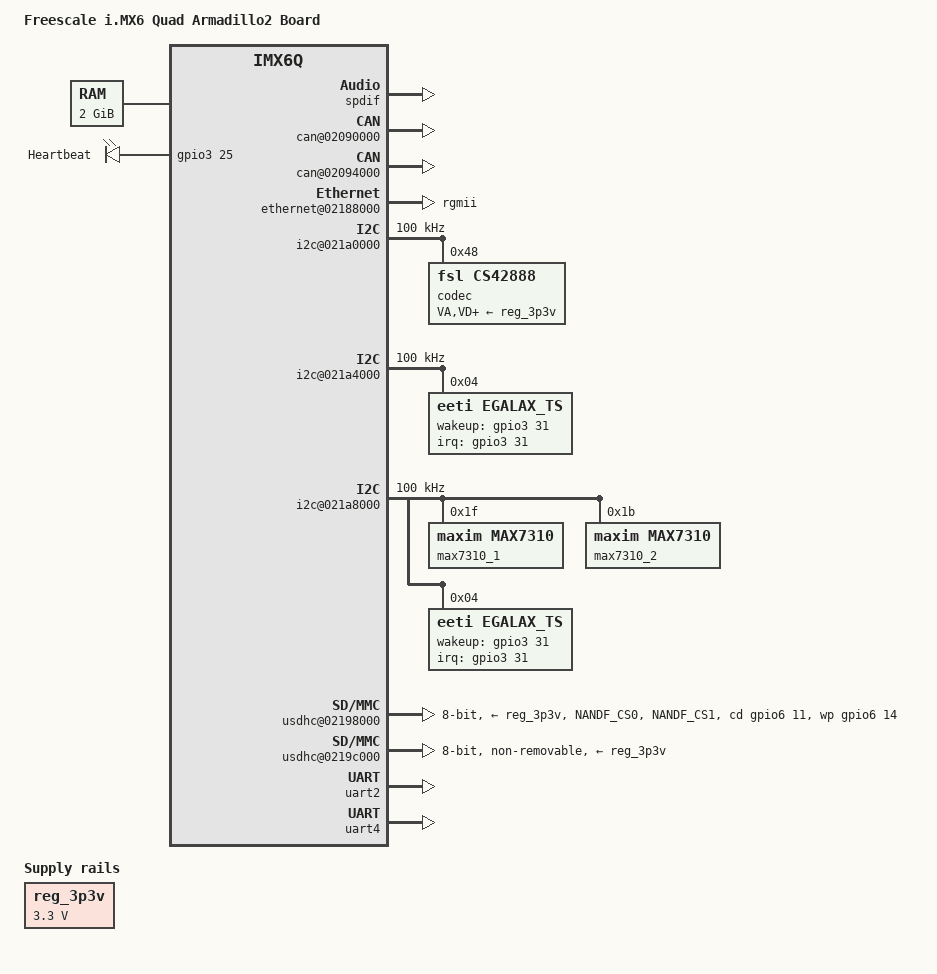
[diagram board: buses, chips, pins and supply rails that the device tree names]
/*
 * Copyright 2011 Freescale Semiconductor, Inc.
 * Copyright 2011 Linaro Ltd.
 *
 * The code contained herein is licensed under the GNU General Public
 * License. You may obtain a copy of the GNU General Public License
 * Version 2 or later at the following locations:
 *
 * http://www.opensource.org/licenses/gpl-license.html
 * http://www.gnu.org/copyleft/gpl.html
 */

/dts-v1/;
#include "imx6q.dtsi"

/ {
	model = "Freescale i.MX6 Quad Armadillo2 Board";
	compatible = "fsl,imx6q-arm2", "fsl,imx6q";

	memory {
		reg = <0x10000000 0x80000000>;
	};

	soc {
		gpmi-nand@00112000 {
			pinctrl-names = "default";
			pinctrl-0 = <&pinctrl_gpmi_nand_1>;
			status = "disabled"; /* gpmi nand conflicts with SD */
		};

		aips-bus@02000000 { /* AIPS1 */
			spba-bus@02000000 {
				spdif: spdif@02004000 {
					compatible = "fsl,fsl-spdif";
					reg = <0x02004000 0x4000>;
					pinctrl-names = "default";
					pinctrl-0 = <&pinctrl_spdif_2>;
					fsl,spdif-dma-events = <15 14>;
					clocks = <&clks 198>;
					clock-names = "spdif";
					interrupts = <0 52 0x04>;
					status = "okay";
				};
				esai: esai@02024000 {
					pinctrl-names = "default";
					pinctrl-0 = <&pinctrl_esai_1>;
					status = "okay";
				};
				asrc_p2p: asrc-p2p {
					compatible = "fsl,imx6q-asrc-p2p";
					output-rate = <44100>;
				};
			};

			can@02090000 { /* CAN1 */
				pinctrl-names = "default";
				pinctrl-0 = <&pinctrl_flexcan1_2>;
				trx-en-gpio = <&gpio7 13 0>;
				trx-stby-gpio = <&gpio7 12 0>;
				status = "okay";
			};

			can@02094000 { /* CAN2 */
				pinctrl-names = "default";
				pinctrl-0 = <&pinctrl_flexcan2_1>;
				trx-en-gpio = <&gpio5 24 0>;
				trx-stby-gpio = <&max7310_2 1 0>;
				status = "okay";
			};

			iomuxc@020e0000 {
				pinctrl-names = "default";
				pinctrl-0 = <&pinctrl_hog>;

				hog {
					pinctrl_hog: hoggrp {
						fsl,pins = <
							MX6Q_PAD_EIM_D25__GPIO3_IO25 0x80000000
							MX6Q_PAD_EIM_D31__GPIO3_IO31 0x80000000
							/*  CAN1 STBY */
							MX6Q_PAD_GPIO_17__GPIO7_IO12 0x80000000
							/*  CAN1 EN */
							MX6Q_PAD_GPIO_18__GPIO7_IO13 0x80000000
							/* CAN2 EN */
							MX6Q_PAD_CSI0_DAT6__GPIO5_IO24 0x80000000

						>;
					};
				};

				arm2 {
					pinctrl_usdhc3_arm2: usdhc3grp-arm2 {
						fsl,pins = <
							MX6Q_PAD_NANDF_CS0__GPIO6_IO11 0x80000000
							MX6Q_PAD_NANDF_CS1__GPIO6_IO14 0x80000000
						>;
					};
				};
			};
		};

		aips-bus@02100000 { /* AIPS2 */
			ethernet@02188000 {
				pinctrl-names = "default";
				pinctrl-0 = <&pinctrl_enet_2>;
				phy-mode = "rgmii";
				status = "okay";
			};

			i2c@021a0000 { /* I2C1 */
				clock-frequency = <100000>;
				pinctrl-names = "default";
				pinctrl-0 = <&pinctrl_i2c1_2>;
				status = "okay";
				codec: cs42888@048 {
					compatible = "fsl,cs42888";
					reg = <0x048>;
					mclk-source = <2>;
					sysclk = <16934400>;
					rates = <0xa40>;
					VA-supply = <&reg_3p3v>;
					VD-supply = <&reg_3p3v>;
					VLS-supply = <&reg_3p3v>;
					VLC-supply = <&reg_3p3v>;
				};
			};

			i2c@021a4000 { /* I2C2 */
				clock-frequency = <100000>;
				pinctrl-names = "default";
				pinctrl-0 = <&pinctrl_i2c2_2>;
				status = "okay";

				egalax_ts@04 {
					compatible = "eeti,egalax_ts";
					reg = <0x04>;
					interrupt-parent = <&gpio3>;
					interrupts = <31 2>;
					wakeup-gpios = <&gpio3 31 0>;
				};
			};

			i2c@021a8000 { /* I2C3 */
				clock-frequency = <100000>;
				pinctrl-names = "default";
				pinctrl-0 = <&pinctrl_i2c3_3>;
				status = "okay";

				max7310_1: gpio@1f{
					compatible = "maxim,max7310";
					reg = <0x1f>;
					gpio-controller;
					#gpio-cells = <2>;
				};

				max7310_2: gpio@1b{
					compatible = "maxim,max7310";
					reg = <0x1b>;
					gpio-controller;
					#gpio-cells = <2>;
				};

				egalax_ts@04 {
					compatible = "eeti,egalax_ts";
					reg = <0x4>;
					interrupt-parent = <&gpio3>;
					interrupts = <31 2>;
					wakeup-gpios = <&gpio3 31 0>;
				};
			};

			usdhc@02198000 { /* uSDHC3 */
				cd-gpios = <&gpio6 11 0>;
				wp-gpios = <&gpio6 14 0>;
				vmmc-supply = <&reg_3p3v>;
				pinctrl-names = "default", "state_100mhz", "state_200mhz";
				pinctrl-0 = <&pinctrl_usdhc3_1
					     &pinctrl_usdhc3_arm2>;
				pinctrl-1 = <&pinctrl_usdhc3_3
					     &pinctrl_usdhc3_arm2>;
				pinctrl-2 = <&pinctrl_usdhc3_4
					     &pinctrl_usdhc3_arm2>;
				bus-width = <8>;
				keep-power-in-suspend;
				enable-sdio-wakeup;
				status = "okay";
			};

			usdhc@0219c000 { /* uSDHC4 */
				non-removable;
				vmmc-supply = <&reg_3p3v>;
				pinctrl-names = "default";
				pinctrl-0 = <&pinctrl_usdhc4_1>;
				no-1-8-v;
				bus-width = <8>;
				keep-power-in-suspend;
				enable-sdio-wakeup;
				status = "okay";
			};

			uart2: serial@021e8000 {
				pinctrl-names = "default";
				pinctrl-0 = <&pinctrl_uart2_dte>;
				fsl,dte-mode;
				fsl,uart-has-rtscts;
				fsl,uart-dma-events = <27 28>;
				status = "okay";
			};

			uart4: serial@021f0000 {
				pinctrl-names = "default";
				pinctrl-0 = <&pinctrl_uart4_1>;
				status = "okay";
			};
		};
	};

	regulators {
		compatible = "simple-bus";

		reg_3p3v: 3p3v {
			compatible = "regulator-fixed";
			regulator-name = "3P3V";
			regulator-min-microvolt = <3300000>;
			regulator-max-microvolt = <3300000>;
			regulator-always-on;
		};
	};

	sound-cs42888 {
		compatible = "fsl,imx6q-arm2-cs42888",
				"fsl,imx-audio-cs42888";
		model = "imx6q-arm2-cs42888";
		esai-controller = <&esai>;
		asrc-controller = <&asrc_p2p>;
		audio-codec = <&codec>;
	};

	leds {
		compatible = "gpio-leds";

		debug-led {
			label = "Heartbeat";
			gpios = <&gpio3 25 0>;
			linux,default-trigger = "heartbeat";
		};
	};

	sound-spdif {
		compatible = "fsl,imx-audio-spdif",
			     "fsl,imx-arm2-spdif";
		model = "imx-spdif";
		spdif-controller = <&spdif>;
		spdif-tx = <1>;		/* 1:enable, 0:disable */
		spdif-rx = <1>;		/* 1:enable, 0:disable */
	};
};
